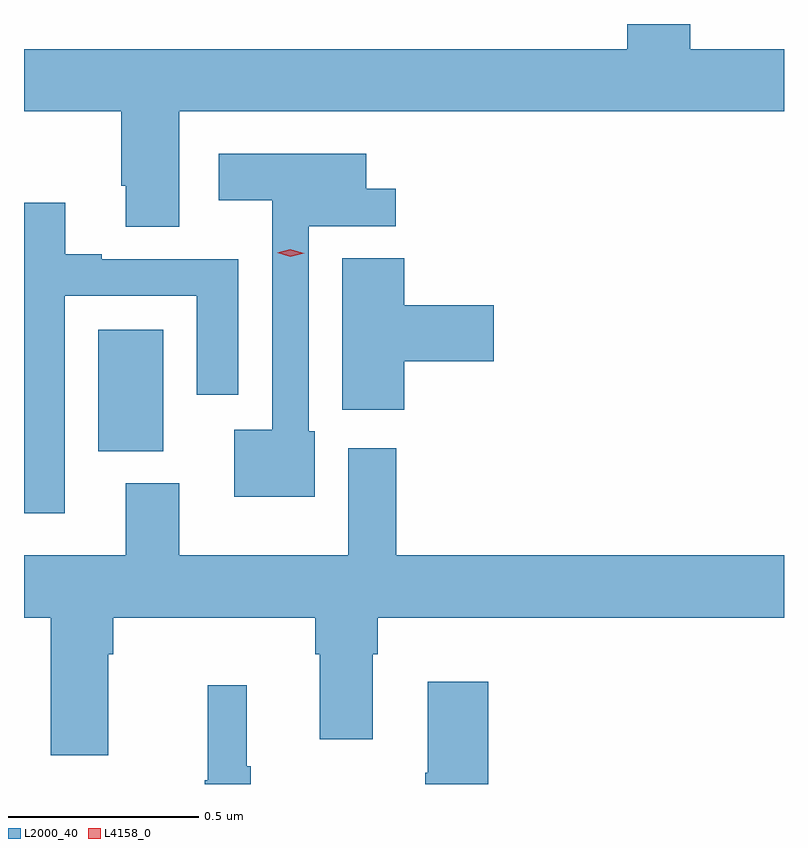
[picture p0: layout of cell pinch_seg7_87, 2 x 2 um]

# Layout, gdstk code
import gdstk
lib = gdstk.Library(unit=1e-6, precision=1e-09)
def R(c, l, rs):  # rectangles x0, y0, x1, y1
    for r in rs: c.add(gdstk.rectangle(r[:2], r[2:], *l))
def P(c, l, *ps):  # polygons
    for p in ps: c.add(gdstk.Polygon(p, *l))
L2000_40 = (2000, 40)
L4158_0 = (4158, 0)

pinch_seg7_87 = lib.new_cell('pinch_seg7_87')
R(pinch_seg7_87, L2000_40, [(913.277,1041.014,913.447,1041.334)])
P(pinch_seg7_87, L2000_40, [(915.081,1042.072),(914.834,1042.072),(914.834,1042.138),(914.669,1042.138),(914.669,1042.072),(913.081,1042.072),(913.081,1041.908),(913.337,1041.908),(913.337,1041.712),(913.349,1041.712),(913.349,1041.604),(913.489,1041.604),(913.489,1041.908),(915.081,1041.908)],
  [(913.846,1041.066),(913.83,1041.066),(913.83,1041.606),(914.059,1041.606),(914.059,1041.704),(913.981,1041.704),(913.981,1041.796),(913.593,1041.796),(913.593,1041.674),(913.734,1041.674),(913.734,1041.07),(913.634,1041.07),(913.634,1040.894),(913.846,1040.894)],
  [(913.188,1041.423),(913.535,1041.423),(913.535,1041.162),(913.645,1041.162),(913.645,1041.519),(913.285,1041.519),(913.285,1041.532),(913.189,1041.532),(913.189,1041.667),(913.081,1041.667),(913.081,1040.85),(913.188,1040.85)],
  [(914.081,1041.251),(914.317,1041.251),(914.317,1041.398),(914.081,1041.398),(914.081,1041.521),(913.919,1041.521),(913.919,1041.123),(914.081,1041.123)],
  [(913.303,1040.48),(913.316,1040.48),(913.316,1040.576),(913.847,1040.576),(913.847,1040.48),(913.859,1040.48),(913.859,1040.256),(913.999,1040.256),(913.999,1040.48),(914.012,1040.48),(914.012,1040.576),(915.081,1040.576),(915.081,1040.74),(914.06,1040.74),(914.06,1041.022),(913.934,1041.022),(913.934,1040.74),(913.489,1040.74),(913.489,1040.929),(913.349,1040.929),(913.349,1040.74),(913.081,1040.74),(913.081,1040.576),(913.151,1040.576),(913.151,1040.214),(913.303,1040.214)],
  [(914.303,1040.407),(914.144,1040.407),(914.144,1040.168),(914.137,1040.168),(914.137,1040.138),(914.303,1040.138)],
  [(913.678,1040.185),(913.667,1040.185),(913.667,1040.398),(913.564,1040.398),(913.564,1040.148),(913.557,1040.148),(913.557,1040.138),(913.678,1040.138)])
P(pinch_seg7_87, L4158_0, [(913.782,1041.526),(913.747,1041.536),(913.747,1041.536),(913.747,1041.536),(913.782,1041.545),(913.818,1041.535),(913.818,1041.535),(913.818,1041.535)])

lib.write_gds('pinch_seg7_87.gds')
